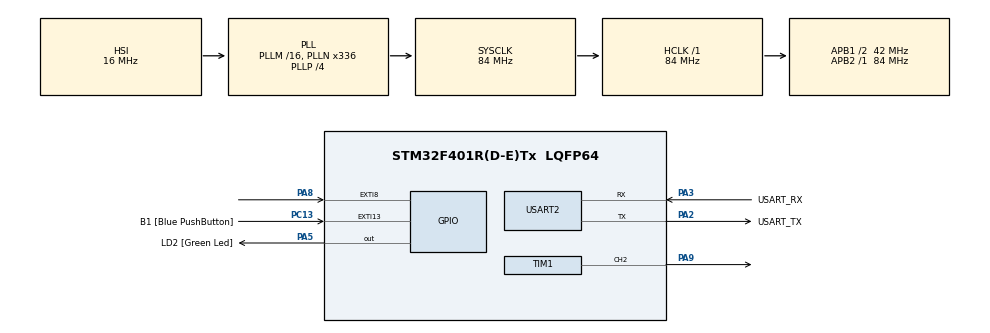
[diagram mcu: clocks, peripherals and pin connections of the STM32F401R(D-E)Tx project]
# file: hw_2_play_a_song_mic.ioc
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Mcu.Family=STM32F4
Mcu.Name=STM32F401R(D-E)Tx
Mcu.Package=LQFP64
NVIC.EXTI9_5_IRQn=true\:1\:0\:true\:false\:true\:true\:true\:true
NVIC.PriorityGroup=NVIC_PRIORITYGROUP_1
PA1.Signal=S_TIM2_CH2
PA13.GPIO_Label=TMS
PA13.Mode=Serial_Wire
PA13.Signal=SYS_JTMS-SWDIO
PA14.GPIO_Label=TCK
PA14.Mode=Serial_Wire
PA14.Signal=SYS_JTCK-SWCLK
PA2.GPIO_Label=USART_TX
PA2.GPIO_Mode=GPIO_MODE_AF_PP
PA2.GPIO_PuPd=GPIO_NOPULL
PA2.GPIO_Speed=GPIO_SPEED_FREQ_LOW
PA2.Mode=Asynchronous
PA2.Signal=USART2_TX
PA3.GPIO_Label=USART_RX
PA3.GPIO_Mode=GPIO_MODE_AF_PP
PA3.GPIO_PuPd=GPIO_NOPULL
PA3.GPIO_Speed=GPIO_SPEED_FREQ_LOW
PA3.Mode=Asynchronous
PA3.Signal=USART2_RX
PA5.GPIO_Label=LD2 [Green Led]
PA5.GPIO_Mode=GPIO_MODE_OUTPUT_PP
PA5.GPIO_PuPd=GPIO_NOPULL
PA5.GPIO_Speed=GPIO_SPEED_FREQ_LOW
PA5.Signal=GPIO_Output
PA8.Signal=GPXTI8
PA9.Signal=S_TIM1_CH2
PB3.GPIO_Label=SWO
PB3.Signal=SYS_JTDO-SWO
PC13-ANTI_TAMP.GPIO_Label=B1 [Blue PushButton]
PC13-ANTI_TAMP.GPIO_ModeDefaultEXTI=GPIO_MODE_IT_FALLING
PC13-ANTI_TAMP.GPIO_PuPd=GPIO_NOPULL
PC13-ANTI_TAMP.Signal=GPXTI13
PC14-OSC32_IN.Mode=LSE-External-Oscillator
PC14-OSC32_IN.Signal=RCC_OSC32_IN
PC15-OSC32_OUT.Mode=LSE-External-Oscillator
PC15-OSC32_OUT.Signal=RCC_OSC32_OUT
PH0\ -\ OSC_IN.Mode=HSE-External-Clock-Source
PH0\ -\ OSC_IN.Signal=RCC_OSC_IN
PH1\ -\ OSC_OUT.Mode=HSE-External-Clock-Source
PH1\ -\ OSC_OUT.Signal=RCC_OSC_OUT
ProjectManager.HeapSize=0x200
ProjectManager.StackSize=0x400
ProjectManager.TargetToolchain=STM32CubeIDE
RCC.48MHZClocksFreq_Value=48000000
RCC.AHBFreq_Value=84000000
RCC.APB1CLKDivider=RCC_HCLK_DIV2
RCC.APB1Freq_Value=42000000
RCC.APB1TimFreq_Value=84000000
RCC.APB2Freq_Value=84000000
RCC.APB2TimFreq_Value=84000000
RCC.CortexFreq_Value=84000000
RCC.HCLKFreq_Value=84000000
RCC.HSE_VALUE=8000000
RCC.HSI_VALUE=16000000
RCC.PLLN=336
RCC.PLLP=RCC_PLLP_DIV4
RCC.PLLQ=7
RCC.SYSCLKFreq_VALUE=84000000
RCC.SYSCLKSource=RCC_SYSCLKSOURCE_PLLCLK
RCC.VCOOutputFreq_Value=336000000
SH.S_TIM1_CH2.0=TIM1_CH2,PWM Generation2 CH2
SH.S_TIM2_CH2.0=TIM2_CH2
TIM1.Channel-PWM\ Generation2\ CH2=TIM_CHANNEL_2
TIM1.Prescaler=100
TIM1.Pulse-PWM\ Generation2\ CH2=32768
USART2.VirtualMode=VM_ASYNC
board=NUCLEO-F401RE

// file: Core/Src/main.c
/* USER CODE BEGIN Header */
/**
  ******************************************************************************
  * @file           : main.c
  * @brief          : Main program body
  ******************************************************************************
  * @attention
  *
  * Copyright (c) 2023 STMicroelectronics.
  * All rights reserved.
  *
  * This software is licensed under terms that can be found in the LICENSE file
  * in the root directory of this software component.
  * If no LICENSE file comes with this software, it is provided AS-IS.
  *
  ******************************************************************************
  */
/* USER CODE END Header */
#include "main.h"

/* USER CODE BEGIN PD */
	#define DO 3026
	#define DO2 3032
	#define RE 2857
	#define	RE2 2701
	#define	MI 2545
	#define FA 2407
	#define FA2 2270
	#define	SOL 2143
	#define	SOL2 2024
	#define	LA 1909
	#define	LA2 1803
	#define	SI 1700
	#define TIME 75
/* USER CODE END PD */

TIM_HandleTypeDef htim1;

UART_HandleTypeDef huart2;

/* USER CODE BEGIN PV */
note song[]={
			{SOL,6},
			{LA,2},
			{SOL,4},
			{FA,4},
			{MI,4},
			{FA,4},
			{SOL,8},
			{RE,4},
			{MI,4},
			{FA,8},
			{MI,4},
			{FA,4},
			{SOL,8},
			{SOL,6},
			{LA,2},
			{SOL,4},
			{FA,4},
			{MI,4},
			{FA,4},
			{SOL,8},
			{RE,8},
			{SOL,8},
			{MI,4},
			{DO,12}
	};
/* USER CODE END PV */

void SystemClock_Config(void);
static void MX_GPIO_Init(void);
static void MX_USART2_UART_Init(void);
static void MX_TIM1_Init(void);

/* USER CODE BEGIN 0 */
void playnote(struct note note_playing){
	__HAL_TIM_SET_AUTORELOAD(&htim1,note_playing.tone);
	__HAL_TIM_SET_COMPARE(&htim1,TIM_CHANNEL_2,note_playing.tone/2);
	__HAL_TIM_SET_COUNTER(&htim1,0);

	HAL_TIM_PWM_Start(&htim1, TIM_CHANNEL_2);
	HAL_Delay(note_playing.duration*TIME);
	HAL_TIM_PWM_Stop(&htim1, TIM_CHANNEL_2);
}
void playsong(){
	int length = sizeof(song)/sizeof(song[0]);
	for(int i=0;i<length;i++){
		playnote(song[i]);
	}

}
/* USER CODE END 0 */

int main(void)
{

  /* MCU Configuration--------------------------------------------------------*/

  /* Reset of all peripherals, Initializes the Flash interface and the Systick. */
  HAL_Init();

  /* Configure the system clock */
  SystemClock_Config();

  /* Initialize all configured peripherals */
  MX_GPIO_Init();
  MX_USART2_UART_Init();
  MX_TIM1_Init();

  /* Infinite loop */
  while (1)
  {

  }
}

void SystemClock_Config(void)
{
  RCC_OscInitTypeDef RCC_OscInitStruct = {0};
  RCC_ClkInitTypeDef RCC_ClkInitStruct = {0};

  /** Configure the main internal regulator output voltage
  */
  __HAL_RCC_PWR_CLK_ENABLE();
  __HAL_PWR_VOLTAGESCALING_CONFIG(PWR_REGULATOR_VOLTAGE_SCALE2);

  /** Initializes the RCC Oscillators according to the specified parameters
  * in the RCC_OscInitTypeDef structure.
  */
  RCC_OscInitStruct.OscillatorType = RCC_OSCILLATORTYPE_HSI;
  RCC_OscInitStruct.HSIState = RCC_HSI_ON;
  RCC_OscInitStruct.HSICalibrationValue = RCC_HSICALIBRATION_DEFAULT;
  RCC_OscInitStruct.PLL.PLLState = RCC_PLL_ON;
  RCC_OscInitStruct.PLL.PLLSource = RCC_PLLSOURCE_HSI;
  RCC_OscInitStruct.PLL.PLLM = 16;
  RCC_OscInitStruct.PLL.PLLN = 336;
  RCC_OscInitStruct.PLL.PLLP = RCC_PLLP_DIV4;
  RCC_OscInitStruct.PLL.PLLQ = 7;
  if (HAL_RCC_OscConfig(&RCC_OscInitStruct) != HAL_OK)
  {
    Error_Handler();
  }

  /** Initializes the CPU, AHB and APB buses clocks
  */
  RCC_ClkInitStruct.ClockType = RCC_CLOCKTYPE_HCLK|RCC_CLOCKTYPE_SYSCLK
                              |RCC_CLOCKTYPE_PCLK1|RCC_CLOCKTYPE_PCLK2;
  RCC_ClkInitStruct.SYSCLKSource = RCC_SYSCLKSOURCE_PLLCLK;
  RCC_ClkInitStruct.AHBCLKDivider = RCC_SYSCLK_DIV1;
  RCC_ClkInitStruct.APB1CLKDivider = RCC_HCLK_DIV2;
  RCC_ClkInitStruct.APB2CLKDivider = RCC_HCLK_DIV1;

  if (HAL_RCC_ClockConfig(&RCC_ClkInitStruct, FLASH_LATENCY_2) != HAL_OK)
  {
    Error_Handler();
  }
}

static void MX_TIM1_Init(void)
{

  TIM_MasterConfigTypeDef sMasterConfig = {0};
  TIM_OC_InitTypeDef sConfigOC = {0};
  TIM_BreakDeadTimeConfigTypeDef sBreakDeadTimeConfig = {0};

  htim1.Instance = TIM1;
  htim1.Init.Prescaler = 100;
  htim1.Init.CounterMode = TIM_COUNTERMODE_UP;
  htim1.Init.Period = 65535;
  htim1.Init.ClockDivision = TIM_CLOCKDIVISION_DIV1;
  htim1.Init.RepetitionCounter = 0;
  htim1.Init.AutoReloadPreload = TIM_AUTORELOAD_PRELOAD_DISABLE;
  if (HAL_TIM_PWM_Init(&htim1) != HAL_OK)
  {
    Error_Handler();
  }
  sMasterConfig.MasterOutputTrigger = TIM_TRGO_RESET;
  sMasterConfig.MasterSlaveMode = TIM_MASTERSLAVEMODE_DISABLE;
  if (HAL_TIMEx_MasterConfigSynchronization(&htim1, &sMasterConfig) != HAL_OK)
  {
    Error_Handler();
  }
  sConfigOC.OCMode = TIM_OCMODE_PWM1;
  sConfigOC.Pulse = 32768;
  sConfigOC.OCPolarity = TIM_OCPOLARITY_HIGH;
  sConfigOC.OCNPolarity = TIM_OCNPOLARITY_HIGH;
  sConfigOC.OCFastMode = TIM_OCFAST_DISABLE;
  sConfigOC.OCIdleState = TIM_OCIDLESTATE_RESET;
  sConfigOC.OCNIdleState = TIM_OCNIDLESTATE_RESET;
  if (HAL_TIM_PWM_ConfigChannel(&htim1, &sConfigOC, TIM_CHANNEL_2) != HAL_OK)
  {
    Error_Handler();
  }
  sBreakDeadTimeConfig.OffStateRunMode = TIM_OSSR_DISABLE;
  sBreakDeadTimeConfig.OffStateIDLEMode = TIM_OSSI_DISABLE;
  sBreakDeadTimeConfig.LockLevel = TIM_LOCKLEVEL_OFF;
  sBreakDeadTimeConfig.DeadTime = 0;
  sBreakDeadTimeConfig.BreakState = TIM_BREAK_DISABLE;
  sBreakDeadTimeConfig.BreakPolarity = TIM_BREAKPOLARITY_HIGH;
  sBreakDeadTimeConfig.AutomaticOutput = TIM_AUTOMATICOUTPUT_DISABLE;
  if (HAL_TIMEx_ConfigBreakDeadTime(&htim1, &sBreakDeadTimeConfig) != HAL_OK)
  {
    Error_Handler();
  }
  HAL_TIM_MspPostInit(&htim1);

}

static void MX_USART2_UART_Init(void)
{

  huart2.Instance = USART2;
  huart2.Init.BaudRate = 115200;
  huart2.Init.WordLength = UART_WORDLENGTH_8B;
  huart2.Init.StopBits = UART_STOPBITS_1;
  huart2.Init.Parity = UART_PARITY_NONE;
  huart2.Init.Mode = UART_MODE_TX_RX;
  huart2.Init.HwFlowCtl = UART_HWCONTROL_NONE;
  huart2.Init.OverSampling = UART_OVERSAMPLING_16;
  if (HAL_UART_Init(&huart2) != HAL_OK)
  {
    Error_Handler();
  }

}

static void MX_GPIO_Init(void)
{
  GPIO_InitTypeDef GPIO_InitStruct = {0};

  /* GPIO Ports Clock Enable */
  __HAL_RCC_GPIOC_CLK_ENABLE();
  __HAL_RCC_GPIOH_CLK_ENABLE();
  __HAL_RCC_GPIOA_CLK_ENABLE();
  __HAL_RCC_GPIOB_CLK_ENABLE();

  /*Configure GPIO pin Output Level */
  HAL_GPIO_WritePin(LD2_GPIO_Port, LD2_Pin, GPIO_PIN_RESET);

  /*Configure GPIO pin : B1_Pin */
  GPIO_InitStruct.Pin = B1_Pin;
  GPIO_InitStruct.Mode = GPIO_MODE_IT_FALLING;
  GPIO_InitStruct.Pull = GPIO_NOPULL;
  HAL_GPIO_Init(B1_GPIO_Port, &GPIO_InitStruct);

  /*Configure GPIO pin : PA1 */
  GPIO_InitStruct.Pin = GPIO_PIN_1;
  GPIO_InitStruct.Mode = GPIO_MODE_AF_PP;
  GPIO_InitStruct.Pull = GPIO_NOPULL;
  GPIO_InitStruct.Speed = GPIO_SPEED_FREQ_LOW;
  GPIO_InitStruct.Alternate = GPIO_AF1_TIM2;
  HAL_GPIO_Init(GPIOA, &GPIO_InitStruct);

  /*Configure GPIO pin : LD2_Pin */
  GPIO_InitStruct.Pin = LD2_Pin;
  GPIO_InitStruct.Mode = GPIO_MODE_OUTPUT_PP;
  GPIO_InitStruct.Pull = GPIO_NOPULL;
  GPIO_InitStruct.Speed = GPIO_SPEED_FREQ_LOW;
  HAL_GPIO_Init(LD2_GPIO_Port, &GPIO_InitStruct);

  /*Configure GPIO pin : PA8 */
  GPIO_InitStruct.Pin = GPIO_PIN_8;
  GPIO_InitStruct.Mode = GPIO_MODE_IT_RISING;
  GPIO_InitStruct.Pull = GPIO_NOPULL;
  HAL_GPIO_Init(GPIOA, &GPIO_InitStruct);

  /* EXTI interrupt init*/
  HAL_NVIC_SetPriority(EXTI9_5_IRQn, 1, 0);
  HAL_NVIC_EnableIRQ(EXTI9_5_IRQn);

}

/* USER CODE BEGIN 4 */
void HAL_GPIO_EXTI_Callback(uint16_t GPIO_Pin)
{
if(GPIO_Pin==GPIO_PIN_8){
	playsong();
	HAL_Delay(2);
	__HAL_GPIO_EXTI_CLEAR_IT(GPIO_Pin);
	}
}
/* USER CODE END 4 */

void Error_Handler(void)
{
  __disable_irq();
  while (1)
  {
  }
}
